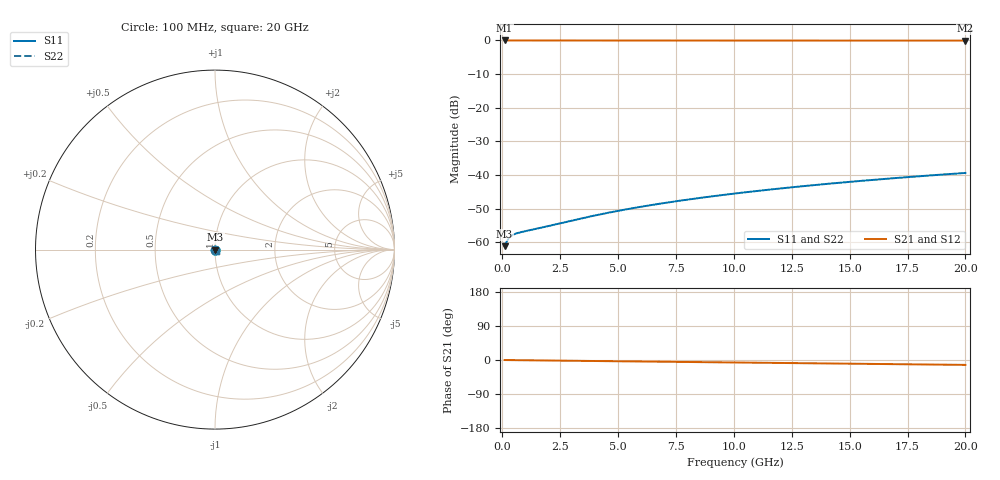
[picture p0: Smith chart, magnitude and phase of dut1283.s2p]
! Touchstone file exported from HFSS 2026.1.0
!  File:  C:/ffzhzh/LocalFiles/Ansys_Project_Files/temp_train_TMRDL_1283_1783164378_22436.aedt
!  Generated:  07:27:26 PM Jul  4, 2026
!  Design:  TMRDL
!  Project:  temp_train_TMRDL_1283_1783164378_22436
! Variables:
!  h_bsmrdl = 2um
!  h_ox = 20um
!  h_rdl = 5um
!  h_sub = 80um
!  h_tmrdl = 4.59um
!  h_tsv = 80um
!  h_via = 3um
!  l_bsmrdl = 300um
!  l_sub = 619.26um
!  l_tmrdl = 219.26um
!  m_sub = 200um
!  pitch = 32.29um
!  r_tsv = 6um
!  s_tmrdl = 10um
!  w_bsmrdl = 18um
!  w_sub = 500um
!  w_tmrdl = 27.74um
!  x_tsv_center1 = 233.13um
!  x_tsv_center2 = 551.13um
!  x_tsv_center3 = 798.13um
!  x_tsv_center4 = 1116.13um
!  x_tsv_center5 = 1363.13um
!  x_tsv_center6 = 1681.13um
# GHz S MA R 50.000000
! Terminal data exported
! Port[1] = TM_RDL1_1_T1
! Port[2] = TM_RDL1_1_T2
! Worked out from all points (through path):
!   200 points, 100 MHz to 20 GHz, reference 50 ohm
!   highest |S21| = -0.01 dB at 100 MHz (marker M1); lowest = -0.1 dB at 20 GHz (marker M2)
!   group delay of S21, straight-line fit = 1.79 ps
!   lowest |S11| = -61.2 dB at 100 MHz (marker M3), VSWR 1.00, Z = 50.1 + j0.021 ohm
!   |S11| at or under -10 dB: start of sweep to end of sweep
!   |S22| runs from -61.2 to -39.4 dB; largest |S21 - S12| = 4e-15
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0.1  0.0008737 13.9  0.9992 -0.1  0.9992 -0.1  0.0008737 13.9
! Gamma 0 0 0 0
! Port Impedance 50 0 50 0
0.2  0.001041 17.7  0.999 -0.2  0.999 -0.2  0.001041 17.7
0.3  0.001168 17.0  0.9989 -0.2  0.9989 -0.2  0.001168 17.0
0.4  0.001252 15.5  0.9988 -0.3  0.9988 -0.3  0.001252 15.5
0.5  0.001308 14.1  0.9987 -0.4  0.9987 -0.4  0.001308 14.1
0.6  0.001349 13.0  0.9987 -0.4  0.9987 -0.4  0.001349 13.0
0.9  0.001437 11.0  0.9986 -0.6  0.9986 -0.6  0.001437 11.0
1.7  0.001651 8.5  0.9984 -1.2  0.9984 -1.2  0.001651 8.5
3.5  0.002296 -0.3  0.9977 -2.4  0.9977 -2.4  0.002296 -0.3
4.3  0.002626 -5.6  0.9974 -2.9  0.9974 -2.9  0.002627 -5.6
5.1  0.002971 -10.9  0.9971 -3.4  0.9971 -3.4  0.002972 -10.9
5.9  0.003326 -16.1  0.9967 -3.9  0.9967 -3.9  0.003327 -16.1
6.8  0.003737 -21.5  0.9964 -4.5  0.9964 -4.5  0.003738 -21.5
7.6  0.00411 -26.0  0.9962 -5.0  0.9962 -5.0  0.004112 -26.0
8.4  0.004492 -30.1  0.9959 -5.5  0.9959 -5.5  0.004493 -30.1
10.1  0.005326 -37.7  0.9954 -6.6  0.9954 -6.6  0.005328 -37.7
11.7  0.006141 -43.8  0.995 -7.6  0.995 -7.6  0.006143 -43.8
13.4  0.007033 -49.2  0.9946 -8.7  0.9946 -8.7  0.007036 -49.2
15  0.007897 -53.7  0.9943 -9.7  0.9943 -9.7  0.007901 -53.6
16.7  0.008837 -57.8  0.9939 -10.8  0.9939 -10.8  0.008841 -57.8
18.3  0.009739 -61.3  0.9936 -11.8  0.9936 -11.8  0.009744 -61.2
20  0.01071 -64.6  0.9932 -12.9  0.9932 -12.9  0.01072 -64.6
